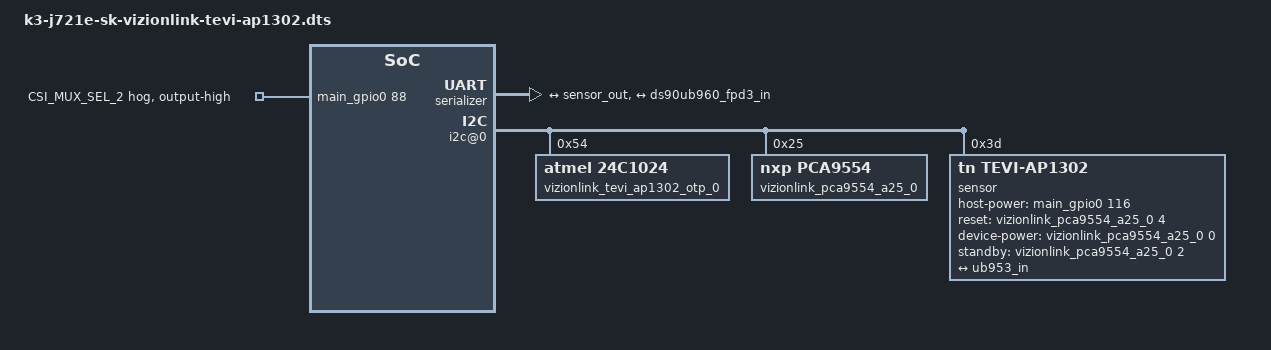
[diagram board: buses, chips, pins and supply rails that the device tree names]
// SPDX-License-Identifier: GPL-2.0
/**
 * DT Overlay for Technexion AR series camera interfaced with CSI2 on J721E-EAIK board.
 *
 * Copyright (C) 2022 Technexion Ltd.
 */

/dts-v1/;
/plugin/;

#include <dt-bindings/gpio/gpio.h>
#include <dt-bindings/interrupt-controller/irq.h>
#include <dt-bindings/pinctrl/k3.h>

&main_pmx0 {
	main_rpi_cam0_pins_default: main-rpi-cam0-pins-default {
		pinctrl-single,pins = <
			J721E_IOPAD(0x1D4, PIN_OUTPUT, 7) /* (Y3) SPI1_CS0 */
			J721E_IOPAD(0x1D8, PIN_OUTPUT, 7) /* (W4) SPI1_CS1 */
		>;
	};

	main_csi_mux_sel2_pins_default: main-csi-mux-sel2-pins-default {
		pinctrl-single,pins = <
			J721E_IOPAD(0x164, PIN_OUTPUT, 7) /* (V29) RGMII5_TD2 */
		>;
	};
};

&main_gpio0 {
	pinctrl-names = "default";
	pinctrl-0 = <&main_csi_mux_sel2_pins_default>;

	csi-mux-hog {
		/* CSI_MUX_SEL_2 */
		gpio-hog;
		gpios = <88 GPIO_ACTIVE_HIGH>;
		output-high;
		line-name = "CSI_MUX_SEL_2";
	};
};


&ds90ub960_ports {
	#address-cells = <1>;
	#size-cells = <0>;

	/* FPDLink RX 0 */
	port@0 {
		reg = <0>;

		ds90ub960_fpd3_in: endpoint {
			remote-endpoint = <&ub953_out>;

			mode = <3>;
			bc-freq = <50000000>;

			serializer: remote-chip {
				compatible = "ti,ds90ub953-q1";

				gpio-controller;
				#gpio-cells = <2>;

				ports {
					#address-cells = <1>;
					#size-cells = <0>;

					port@0 {
						reg = <0>;
						ub953_in: endpoint@0 {
							remote-endpoint = <&sensor_out>;
						};
					};

					port@1 {
						reg = <1>;

						ub953_out: endpoint@0 {
							remote-endpoint = <&ds90ub960_fpd3_in>;
						};
					};
				};
			};
		};
	};
};

&ds90ub960_atr {
	#address-cells = <1>;
	#size-cells = <0>;

	i2c@0 {
		reg = <0>;

		#address-cells = <1>;
		#size-cells = <0>;


		vizionlink_tevi_ap1302_otp_0: vizionlink_tevi_ap1302_otp_0@54 {
			compatible = "atmel,24c1024";
			reg = <0x54>;
			pagesize = <128>;
			status = "okay";

		};

		vizionlink_pca9554_a25_0: vizionlink_pca9554@25 {
			compatible = "nxp,pca9554";
			reg = <0x25>;
			gpio-controller;
			#gpio-cells = <2>;
			status = "okay";
		};

		sensor@3d {
			compatible = "tn,tevi-ap1302";
			reg = <0x3d>;

			pinctrl-names = "default";
			pinctrl-0 = <&main_rpi_cam0_pins_default>;

			host-power-gpios = <&main_gpio0 116 GPIO_ACTIVE_HIGH>;
			reset-gpios = <&vizionlink_pca9554_a25_0 4 GPIO_ACTIVE_HIGH>;
			device-power-gpios = <&vizionlink_pca9554_a25_0 0 GPIO_ACTIVE_HIGH>;
			standby-gpios = <&vizionlink_pca9554_a25_0 2 GPIO_ACTIVE_HIGH>;

			nvmem = <&vizionlink_tevi_ap1302_otp_0>;
			nvmem-names = "calib-data";
			pixel-rate = <184291200>; /* 184.29MHz */
			data-lanes = <2>;
			continuous-clock = <0>;
			status = "okay";

			#address-cells = <1>;
			#size-cells = <0>;

			port@0 {
				reg = <0>;
				sensor_out: endpoint {
					remote-endpoint = <&ub953_in>;
				};
			};

		};

	};
};
